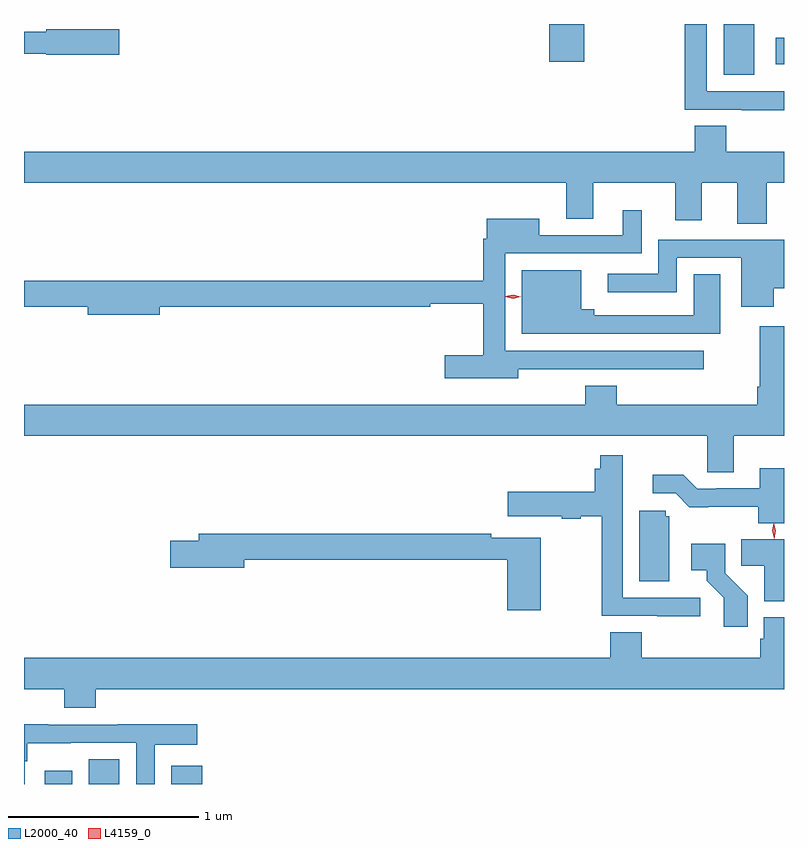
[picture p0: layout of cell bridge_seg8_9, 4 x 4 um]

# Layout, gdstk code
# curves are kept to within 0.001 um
import gdstk
lib = gdstk.Library(unit=1e-6, precision=1e-09)
def R(c, l, rs):  # rectangles x0, y0, x1, y1
    for r in rs: c.add(gdstk.rectangle(r[:2], r[2:], *l))
def P(c, l, *ps):  # polygons
    for p in ps: c.add(gdstk.Polygon(p, *l))
L2000_40 = (2000, 40)
L4159_0 = (4159, 0)

bridge_seg8_9 = lib.new_cell('bridge_seg8_9')
R(bridge_seg8_9, L2000_40, [(985.187,1157.292,985.33,1157.362), (985.418,1157.292,985.579,1157.423), (985.853,1157.292,986.014,1157.389), (988.76,1161.024,988.921,1161.292), (989.034,1161.08,989.077,1161.22), (987.842,1161.093,988.025,1161.292)])
P(bridge_seg8_9, L2000_40, [(989.077,1160.937),(988.671,1160.937),(988.671,1161.292),(988.555,1161.292),(988.555,1160.841),(988.855,1160.841),(988.855,1160.839),(989.077,1160.839)],
  [(985.579,1161.265),(985.194,1161.265),(985.194,1161.252),(985.077,1161.252),(985.077,1161.136),(985.194,1161.136),(985.194,1161.131),(985.579,1161.131)],
  [(988.607,1160.756),(988.607,1160.62),(985.077,1160.62),(985.077,1160.456),(987.932,1160.456),(987.932,1160.266),(988.072,1160.266),(988.072,1160.456),(988.505,1160.456),(988.505,1160.259),(988.645,1160.259),(988.645,1160.456),(988.832,1160.456),(988.832,1160.242),(988.985,1160.242),(988.985,1160.456),(989.077,1160.456),(989.077,1160.62),(988.772,1160.62),(988.772,1160.756)],
  [(987.679,1159.475),(987.947,1159.475),(987.947,1159.476),(988.279,1159.476),(988.279,1159.475),(988.654,1159.475),(988.654,1159.572),(987.609,1159.572),(987.609,1160.085),(988.327,1160.085),(988.327,1160.311),(988.229,1160.311),(988.229,1160.181),(987.79,1160.181),(987.79,1160.266),(987.512,1160.266),(987.512,1160.162),(987.493,1160.162),(987.493,1159.94),(985.077,1159.94),(985.077,1159.804),(985.412,1159.804),(985.412,1159.762),(985.792,1159.762),(985.792,1159.804),(987.216,1159.804),(987.216,1159.819),(987.493,1159.819),(987.493,1159.549),(987.291,1159.549),(987.291,1159.427),(987.679,1159.427)],
  [(989.024,1159.901),(989.077,1159.901),(989.077,1160.157),(988.416,1160.157),(988.416,1159.977),(988.149,1159.977),(988.149,1159.881),(988.512,1159.881),(988.512,1160.061),(988.853,1160.061),(988.853,1159.803),(989.024,1159.803)],
  [(987.974,1159.662),(988.741,1159.662),(988.741,1159.976),(988.601,1159.976),(988.601,1159.758),(988.078,1159.758),(988.078,1159.792),(988.009,1159.792),(988.009,1159.996),(987.698,1159.996),(987.698,1159.661),(987.974,1159.661)],
  [(988.813,1159.124),(989.077,1159.124),(989.077,1159.702),(988.949,1159.702),(988.949,1159.384),(988.937,1159.384),(988.937,1159.288),(988.196,1159.288),(988.196,1159.387),(988.031,1159.387),(988.031,1159.288),(985.077,1159.288),(985.077,1159.124),(988.674,1159.124),(988.674,1158.934),(988.813,1158.934)],
  [(988.636,1158.273),(988.227,1158.273),(988.227,1159.021),(988.111,1159.021),(988.111,1158.952),(988.082,1158.952),(988.082,1158.831),(987.624,1158.831),(987.624,1158.701),(987.908,1158.701),(987.908,1158.689),(988.008,1158.689),(988.008,1158.701),(988.119,1158.701),(988.119,1158.177),(988.411,1158.177),(988.411,1158.175),(988.636,1158.175)],
  [(989.077,1158.955),(988.949,1158.955),(988.949,1158.849),(988.72,1158.849),(988.72,1158.846),(988.62,1158.846),(988.547,1158.919),(988.386,1158.919),(988.386,1158.822),(988.506,1158.822),(988.579,1158.749),(988.942,1158.75),(988.942,1158.665),(989.077,1158.665)],
  [(988.474,1158.702),(988.455,1158.702),(988.455,1158.729),(988.316,1158.729),(988.316,1158.358),(988.474,1158.358)],
  [(987.798,1158.588),(987.536,1158.588),(987.536,1158.608),(985.997,1158.608),(985.997,1158.572),(985.848,1158.572),(985.848,1158.43),(986.236,1158.43),(986.236,1158.472),(987.62,1158.472),(987.62,1158.207),(987.798,1158.207)],
  [(989.077,1158.58),(988.852,1158.58),(988.852,1158.442),(988.973,1158.442),(988.973,1158.254),(989.077,1158.254)],
  [(988.886,1158.282),(988.767,1158.401),(988.767,1158.556),(988.59,1158.556),(988.59,1158.416),(988.67,1158.416),(988.67,1158.361),(988.761,1158.271),(988.761,1158.12),(988.886,1158.12)],
  [(985.454,1157.792),(989.077,1157.792),(989.077,1158.169),(988.971,1158.169),(988.971,1158.057),(988.951,1158.057),(988.951,1157.956),(988.328,1157.956),(988.328,1158.092),(988.163,1158.092),(988.163,1157.956),(985.077,1157.956),(985.077,1157.792),(985.289,1157.792),(985.289,1157.693),(985.454,1157.693)],
  [(985.08,1157.411),(985.093,1157.411),(985.093,1157.507),(985.322,1157.507),(985.322,1157.508),(985.668,1157.508),(985.668,1157.292),(985.764,1157.292),(985.764,1157.498),(985.99,1157.498),(985.99,1157.606),(985.571,1157.606),(985.571,1157.604),(985.205,1157.604),(985.205,1157.606),(985.077,1157.606),(985.077,1157.292),(985.08,1157.292)])
P(bridge_seg8_9, L4159_0, [(989.025,1158.583),(989.025,1158.583),(989.014,1158.624),(989.022,1158.665),(989.023,1158.666),(989.023,1158.665),(989.034,1158.625),(989.025,1158.583)],
  [(987.651,1159.847),(987.611,1159.857),(987.611,1159.858),(987.611,1159.858),(987.652,1159.867),(987.692,1159.857),(987.692,1159.857),(987.692,1159.857)])

lib.write_gds('bridge_seg8_9.gds')
